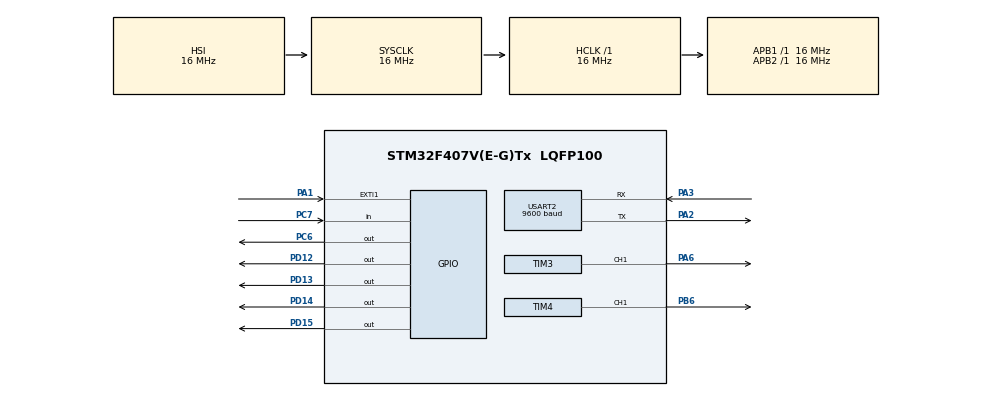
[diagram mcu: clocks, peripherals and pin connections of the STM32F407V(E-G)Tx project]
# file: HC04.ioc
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Mcu.Family=STM32F4
Mcu.Name=STM32F407V(E-G)Tx
Mcu.Package=LQFP100
NVIC.EXTI1_IRQn=true\:0\:0\:false\:false\:true
NVIC.PriorityGroup=NVIC_PRIORITYGROUP_4
NVIC.TIM2_IRQn=true\:0\:0\:false\:false\:true
NVIC.TIM3_IRQn=true\:0\:0\:false\:false\:true
NVIC.TIM4_IRQn=true\:0\:0\:false\:false\:true
PA1.GPIO_ModeDefaultEXTI=GPIO_MODE_IT_RISING_FALLING
PA1.Signal=GPXTI1
PA2.Mode=Asynchronous
PA2.Signal=USART2_TX
PA3.Mode=Asynchronous
PA3.Signal=USART2_RX
PA6.Signal=S_TIM3_CH1
PB6.Signal=S_TIM4_CH1
PC6.Signal=GPIO_Output
PC7.Signal=GPIO_Input
PD12.Signal=GPIO_Output
PD13.Signal=GPIO_Output
PD14.Signal=GPIO_Output
PD15.Signal=GPIO_Output
ProjectManager.HeapSize=0x200
ProjectManager.StackSize=0x400
ProjectManager.TargetToolchain=MDK-ARM V5
RCC.AHBFreq_Value=16000000
RCC.APB1Freq_Value=16000000
RCC.APB2Freq_Value=16000000
RCC.CortexFreq_Value=16000000
RCC.HSE_VALUE=25000000
RCC.HSI_VALUE=16000000
RCC.LSE_VALUE=32768
RCC.SYSCLKFreq_VALUE=16000000
RCC.VCOOutputFreq_Value=192000000
SH.S_TIM3_CH1.0=TIM3_CH1,PWM Generation1 CH1
SH.S_TIM4_CH1.0=TIM4_CH1,PWM Generation1 CH1
TIM3.Channel-PWM\ Generation1\ CH1=TIM_CHANNEL_1
TIM3.Period=799
TIM3.Prescaler=10
TIM4.Channel-PWM\ Generation1\ CH1=TIM_CHANNEL_1
TIM4.Period=799
TIM4.Prescaler=10
USART2.BaudRate=9600
USART2.VirtualMode=VM_ASYNC
VP_TIM2_VS_ClockSourceINT.Mode=Internal
VP_TIM3_VS_ClockSourceINT.Mode=Internal
VP_TIM4_VS_ClockSourceINT.Mode=Internal
board=HC04

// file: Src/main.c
/**
  ******************************************************************************
  * File Name          : main.c
  * Description        : Main program body
  ******************************************************************************
  *
  * COPYRIGHT(c) 2017 STMicroelectronics
  *
  * Redistribution and use in source and binary forms, with or without modification,
  * are permitted provided that the following conditions are met:
  *   1. Redistributions of source code must retain the above copyright notice,
  *      this list of conditions and the following disclaimer.
  *   2. Redistributions in binary form must reproduce the above copyright notice,
  *      this list of conditions and the following disclaimer in the documentation
  *      and/or other materials provided with the distribution.
  *   3. Neither the name of STMicroelectronics nor the names of its contributors
  *      may be used to endorse or promote products derived from this software
  *      without specific prior written permission.
  *
  * THIS SOFTWARE IS PROVIDED BY THE COPYRIGHT HOLDERS AND CONTRIBUTORS "AS IS"
  * AND ANY EXPRESS OR IMPLIED WARRANTIES, INCLUDING, BUT NOT LIMITED TO, THE
  * IMPLIED WARRANTIES OF MERCHANTABILITY AND FITNESS FOR A PARTICULAR PURPOSE ARE
  * DISCLAIMED. IN NO EVENT SHALL THE COPYRIGHT HOLDER OR CONTRIBUTORS BE LIABLE
  * FOR ANY DIRECT, INDIRECT, INCIDENTAL, SPECIAL, EXEMPLARY, OR CONSEQUENTIAL
  * DAMAGES (INCLUDING, BUT NOT LIMITED TO, PROCUREMENT OF SUBSTITUTE GOODS OR
  * SERVICES; LOSS OF USE, DATA, OR PROFITS; OR BUSINESS INTERRUPTION) HOWEVER
  * CAUSED AND ON ANY THEORY OF LIABILITY, WHETHER IN CONTRACT, STRICT LIABILITY,
  * OR TORT (INCLUDING NEGLIGENCE OR OTHERWISE) ARISING IN ANY WAY OUT OF THE USE
  * OF THIS SOFTWARE, EVEN IF ADVISED OF THE POSSIBILITY OF SUCH DAMAGE.
  *
  ******************************************************************************
  */
#include "main.h"
#include "stm32f4xx_hal.h"
#include "hcsr04.h"
#include "motor.h"

TIM_HandleTypeDef htim2;
TIM_HandleTypeDef htim3;
TIM_HandleTypeDef htim4;

UART_HandleTypeDef huart2;

/* USER CODE BEGIN PV */
/* Private variables ---------------------------------------------------------*/
uint8_t buff_recive[2];
HCSRO4t hc;
Motort mt;
extern TIM_OC_InitTypeDef sConfigOC_TIM3;  // sConfigOC structure used in the MX_TIM3_Init function;
extern TIM_OC_InitTypeDef sConfigOC_TIM4;  // sConfigOC structure used in the MX_TIM3_Init function;
/* USER CODE END PV */

void SystemClock_Config(void);
void Error_Handler(void);
static void MX_GPIO_Init(void);
static void MX_USART2_UART_Init(void);
static void MX_TIM2_Init(void);
static void MX_TIM3_Init(void);
static void MX_TIM4_Init(void);

void HAL_TIM_MspPostInit(TIM_HandleTypeDef *htim);

/* USER CODE BEGIN PFP */
/* Private function prototypes -----------------------------------------------*/

/* USER CODE END PFP */

/* USER CODE BEGIN 0 */
//INIT HCSR04 Structure
void HCRSR04_init(GPIO_TypeDef* ECHOPORT,uint16_t ECHOPIN,GPIO_TypeDef* TRIGGERPORT,uint16_t TRIGGERPIN){
	hc.ECHO_GPIOx=ECHOPORT;
	hc.ECHO_GPIO_Pin=ECHOPIN;
	hc.TRIGGER_GPIOx=TRIGGERPORT;
	hc.TRIGGER_GPIO_Pin=TRIGGERPIN;
}
//INIT MOTOR INPUT
void Motor_init(GPIO_TypeDef* F1PORT,uint16_t F1PIN,GPIO_TypeDef* B1PORT,uint16_t B1PIN,GPIO_TypeDef* F2PORT,uint16_t F2PIN,GPIO_TypeDef* B2PORT,uint16_t B2PIN){
	mt.FORWARD1_GPIOx=F1PORT;
	mt.FORWARD1_GPIO_Pin=F1PIN;
	mt.BACK1_GPIOx=B1PORT;
	mt.BACK1_GPIO_Pin=B1PIN;

	mt.FORWARD2_GPIOx=F2PORT;
	mt.FORWARD2_GPIO_Pin=F2PIN;
	mt.BACK2_GPIOx=B2PORT;
	mt.BACK2_GPIO_Pin=B2PIN;
}
//Function Ultrasonic read
float SR04read(HCSRO4t* hc) {
  __HAL_TIM_SetCounter(&htim2, 0);
  HAL_GPIO_WritePin(hc->TRIGGER_GPIOx,hc->TRIGGER_GPIO_Pin,1);
  while(__HAL_TIM_GetCounter(&htim2) < 15);
  HAL_GPIO_WritePin(hc->TRIGGER_GPIOx, hc->TRIGGER_GPIO_Pin,0);
  while(!HAL_GPIO_ReadPin(hc->ECHO_GPIOx,hc->ECHO_GPIO_Pin) && (__HAL_TIM_GetCounter(&htim2) < 50000));
  __HAL_TIM_SetCounter(&htim2, 0);
  while(HAL_GPIO_ReadPin(hc->ECHO_GPIOx,hc->ECHO_GPIO_Pin)&& (__HAL_TIM_GetCounter(&htim2) < 50000));
  return ((float)__HAL_TIM_GetCounter(&htim2) * 0.01715 + SR04_OFFSET);
}
//Function start PWM
void WritePulse(TIM_HandleTypeDef* htimer, TIM_OC_InitTypeDef sConfig, int pulse, uint32_t channel) {
  sConfig.Pulse = pulse; // Set the new PWM pulse;
  HAL_TIM_PWM_ConfigChannel(htimer, &sConfig, channel);  // Reconfiguration of the htimer structure;
  HAL_TIM_PWM_Start(htimer, channel);  // Start the htimer TIMER ;
}
//Forward
void Forward(Motort *m){
		HAL_GPIO_WritePin(m->FORWARD1_GPIOx,m->FORWARD1_GPIO_Pin,1);
		HAL_GPIO_WritePin(m->FORWARD2_GPIOx,m->FORWARD2_GPIO_Pin,1);
		HAL_GPIO_WritePin(m->BACK1_GPIOx,m->BACK2_GPIO_Pin,0);
		HAL_GPIO_WritePin(m->BACK2_GPIOx,m->BACK2_GPIO_Pin,0);
}
// Back
void Back(Motort *m){
		HAL_GPIO_WritePin(m->FORWARD1_GPIOx,m->FORWARD1_GPIO_Pin,0);
		HAL_GPIO_WritePin(m->FORWARD2_GPIOx,m->FORWARD2_GPIO_Pin,0);
		HAL_GPIO_WritePin(m->BACK1_GPIOx,m->BACK1_GPIO_Pin,1);
		HAL_GPIO_WritePin(m->BACK2_GPIOx,m->BACK2_GPIO_Pin,1);
}
//Stop
void Stop(Motort *m){
		HAL_GPIO_WritePin(m->FORWARD1_GPIOx,m->FORWARD1_GPIO_Pin,0);
		HAL_GPIO_WritePin(m->FORWARD2_GPIOx,m->FORWARD2_GPIO_Pin,0);
		HAL_GPIO_WritePin(m->BACK1_GPIOx,m->BACK1_GPIO_Pin,0);
		HAL_GPIO_WritePin(m->BACK2_GPIOx,m->BACK2_GPIO_Pin,0);
}
//Right
void Right(Motort *m){
		HAL_GPIO_WritePin(m->FORWARD1_GPIOx,m->FORWARD1_GPIO_Pin,1);
		HAL_GPIO_WritePin(m->FORWARD2_GPIOx,m->FORWARD2_GPIO_Pin,0);
		HAL_GPIO_WritePin(m->BACK1_GPIOx,m->BACK1_GPIO_Pin,0);
		HAL_GPIO_WritePin(m->BACK2_GPIOx,m->BACK2_GPIO_Pin,0);
}
//Left
void Left(Motort *m){
		HAL_GPIO_WritePin(m->FORWARD1_GPIOx,m->FORWARD1_GPIO_Pin,0);
		HAL_GPIO_WritePin(m->FORWARD2_GPIOx,m->FORWARD2_GPIO_Pin,1);
		HAL_GPIO_WritePin(m->BACK1_GPIOx,m->BACK1_GPIO_Pin,0);
		HAL_GPIO_WritePin(m->BACK2_GPIOx,m->BACK2_GPIO_Pin,0);
}
//Rotation
void Rotation(Motort *m){
		HAL_GPIO_WritePin(m->FORWARD1_GPIOx,m->FORWARD1_GPIO_Pin,1);
		HAL_GPIO_WritePin(m->FORWARD2_GPIOx,m->FORWARD2_GPIO_Pin,0);
		HAL_GPIO_WritePin(m->BACK1_GPIOx,m->BACK1_GPIO_Pin,1);
		HAL_GPIO_WritePin(m->BACK2_GPIOx,m->BACK2_GPIO_Pin,0);
}

/* USER CODE END 0 */
int main(void)
{

  /* MCU Configuration----------------------------------------------------------*/

  /* Reset of all peripherals, Initializes the Flash interface and the Systick. */
  HAL_Init();

  /* Configure the system clock */
  SystemClock_Config();

  /* Initialize all configured peripherals */
  MX_GPIO_Init();
  MX_USART2_UART_Init();
  MX_TIM2_Init();
  MX_TIM3_Init();
  MX_TIM4_Init();

  /* USER CODE BEGIN 2 */

	float distance=0;
	char a;
	HCRSR04_init(GPIOC,GPIO_PIN_7,GPIOC,GPIO_PIN_6);
	Motor_init(GPIOD,GPIO_PIN_12,GPIOD,GPIO_PIN_13,GPIOD,GPIO_PIN_14,GPIOD,GPIO_PIN_15);
	HAL_TIM_PWM_Start(&htim3,TIM_CHANNEL_1);
	HAL_TIM_PWM_Start(&htim4,TIM_CHANNEL_1);
	//WritePulse(&htim3,sConfigOC_TIM3,500,TIM_CHANNEL_1);
  //WritePulse(&htim4,sConfigOC_TIM4,500,TIM_CHANNEL_1);
	/* USER CODE END 2 */
	HAL_TIM_Base_Start(&htim2);
  /* Infinite loop */
  while (1)
  {
		distance=SR04read(&hc);
		if (distance>5 && distance<10){
				buff_recive[0]='s';
		}
		HAL_UART_Receive(&huart2,buff_recive,2,1);
		if(buff_recive[0]=='1'){
				Forward(&mt);
		}
		else if (buff_recive[0]=='2'){
				Back(&mt);
		}
		else if(buff_recive[0]=='s'){
				Stop(&mt);
		}
		else if(buff_recive[0]=='3'){
				Right(&mt);
		}
		else if(buff_recive[0]=='4'){
				Left(&mt);
		}
		else if(buff_recive[0]=='5'){
				Rotation(&mt);
		}

		HAL_Delay(500);
	}

}

/** System Clock Configuration
*/
void SystemClock_Config(void)
{

  RCC_OscInitTypeDef RCC_OscInitStruct;
  RCC_ClkInitTypeDef RCC_ClkInitStruct;

    /**Configure the main internal regulator output voltage
    */
  __HAL_RCC_PWR_CLK_ENABLE();

  __HAL_PWR_VOLTAGESCALING_CONFIG(PWR_REGULATOR_VOLTAGE_SCALE1);

    /**Initializes the CPU, AHB and APB busses clocks
    */
  RCC_OscInitStruct.OscillatorType = RCC_OSCILLATORTYPE_HSI;
  RCC_OscInitStruct.HSIState = RCC_HSI_ON;
  RCC_OscInitStruct.HSICalibrationValue = 16;
  RCC_OscInitStruct.PLL.PLLState = RCC_PLL_NONE;
  if (HAL_RCC_OscConfig(&RCC_OscInitStruct) != HAL_OK)
  {
    Error_Handler();
  }

    /**Initializes the CPU, AHB and APB busses clocks
    */
  RCC_ClkInitStruct.ClockType = RCC_CLOCKTYPE_HCLK|RCC_CLOCKTYPE_SYSCLK
                              |RCC_CLOCKTYPE_PCLK1|RCC_CLOCKTYPE_PCLK2;
  RCC_ClkInitStruct.SYSCLKSource = RCC_SYSCLKSOURCE_HSI;
  RCC_ClkInitStruct.AHBCLKDivider = RCC_SYSCLK_DIV1;
  RCC_ClkInitStruct.APB1CLKDivider = RCC_HCLK_DIV1;
  RCC_ClkInitStruct.APB2CLKDivider = RCC_HCLK_DIV1;

  if (HAL_RCC_ClockConfig(&RCC_ClkInitStruct, FLASH_LATENCY_0) != HAL_OK)
  {
    Error_Handler();
  }

    /**Configure the Systick interrupt time
    */
  HAL_SYSTICK_Config(HAL_RCC_GetHCLKFreq()/1000);

    /**Configure the Systick
    */
  HAL_SYSTICK_CLKSourceConfig(SYSTICK_CLKSOURCE_HCLK);

  /* SysTick_IRQn interrupt configuration */
  HAL_NVIC_SetPriority(SysTick_IRQn, 0, 0);
}

/* TIM2 init function */
static void MX_TIM2_Init(void)
{

  TIM_ClockConfigTypeDef sClockSourceConfig;
  TIM_MasterConfigTypeDef sMasterConfig;

  htim2.Instance = TIM2;
  htim2.Init.Prescaler = (uint16_t) (SystemCoreClock / 1000000) - 1;;
  htim2.Init.CounterMode = TIM_COUNTERMODE_UP;
  htim2.Init.Period = 65535 - 1;
  htim2.Init.ClockDivision = TIM_CLOCKDIVISION_DIV1;
  if (HAL_TIM_Base_Init(&htim2) != HAL_OK)
  {
    Error_Handler();
  }

  sClockSourceConfig.ClockSource = TIM_CLOCKSOURCE_INTERNAL;
  if (HAL_TIM_ConfigClockSource(&htim2, &sClockSourceConfig) != HAL_OK)
  {
    Error_Handler();
  }

  sMasterConfig.MasterOutputTrigger = TIM_TRGO_RESET;
  sMasterConfig.MasterSlaveMode = TIM_MASTERSLAVEMODE_DISABLE;
  if (HAL_TIMEx_MasterConfigSynchronization(&htim2, &sMasterConfig) != HAL_OK)
  {
    Error_Handler();
  }

}
TIM_OC_InitTypeDef sConfigOC_TIM3;
/* TIM3 init function */
static void MX_TIM3_Init(void)
{

  TIM_ClockConfigTypeDef sClockSourceConfig;
  TIM_MasterConfigTypeDef sMasterConfig;
  TIM_OC_InitTypeDef sConfigOC;

  htim3.Instance = TIM3;
  htim3.Init.Prescaler = 10;
  htim3.Init.CounterMode = TIM_COUNTERMODE_UP;
  htim3.Init.Period = 799;
  htim3.Init.ClockDivision = TIM_CLOCKDIVISION_DIV1;
  if (HAL_TIM_Base_Init(&htim3) != HAL_OK)
  {
    Error_Handler();
  }

  sClockSourceConfig.ClockSource = TIM_CLOCKSOURCE_INTERNAL;
  if (HAL_TIM_ConfigClockSource(&htim3, &sClockSourceConfig) != HAL_OK)
  {
    Error_Handler();
  }

  if (HAL_TIM_PWM_Init(&htim3) != HAL_OK)
  {
    Error_Handler();
  }

  sMasterConfig.MasterOutputTrigger = TIM_TRGO_RESET;
  sMasterConfig.MasterSlaveMode = TIM_MASTERSLAVEMODE_DISABLE;
  if (HAL_TIMEx_MasterConfigSynchronization(&htim3, &sMasterConfig) != HAL_OK)
  {
    Error_Handler();
  }

  sConfigOC.OCMode = TIM_OCMODE_PWM1;
  sConfigOC.Pulse = 700;
  sConfigOC.OCPolarity = TIM_OCPOLARITY_HIGH;
  sConfigOC.OCFastMode = TIM_OCFAST_DISABLE;
  if (HAL_TIM_PWM_ConfigChannel(&htim3, &sConfigOC, TIM_CHANNEL_1) != HAL_OK)
  {
    Error_Handler();
  }

  HAL_TIM_MspPostInit(&htim3);

}
TIM_OC_InitTypeDef sConfigOC_TIM4;
/* TIM4 init function */
static void MX_TIM4_Init(void)
{

  TIM_ClockConfigTypeDef sClockSourceConfig;
  TIM_MasterConfigTypeDef sMasterConfig;
  TIM_OC_InitTypeDef sConfigOC;

  htim4.Instance = TIM4;
  htim4.Init.Prescaler = 10;
  htim4.Init.CounterMode = TIM_COUNTERMODE_UP;
  htim4.Init.Period = 799;
  htim4.Init.ClockDivision = TIM_CLOCKDIVISION_DIV1;
  if (HAL_TIM_Base_Init(&htim4) != HAL_OK)
  {
    Error_Handler();
  }

  sClockSourceConfig.ClockSource = TIM_CLOCKSOURCE_INTERNAL;
  if (HAL_TIM_ConfigClockSource(&htim4, &sClockSourceConfig) != HAL_OK)
  {
    Error_Handler();
  }

  if (HAL_TIM_PWM_Init(&htim4) != HAL_OK)
  {
    Error_Handler();
  }

  sMasterConfig.MasterOutputTrigger = TIM_TRGO_RESET;
  sMasterConfig.MasterSlaveMode = TIM_MASTERSLAVEMODE_DISABLE;
  if (HAL_TIMEx_MasterConfigSynchronization(&htim4, &sMasterConfig) != HAL_OK)
  {
    Error_Handler();
  }

  sConfigOC.OCMode = TIM_OCMODE_PWM1;
  sConfigOC.Pulse = 700;
  sConfigOC.OCPolarity = TIM_OCPOLARITY_HIGH;
  sConfigOC.OCFastMode = TIM_OCFAST_DISABLE;
  if (HAL_TIM_PWM_ConfigChannel(&htim4, &sConfigOC, TIM_CHANNEL_1) != HAL_OK)
  {
    Error_Handler();
  }

  HAL_TIM_MspPostInit(&htim4);

}

/* USART2 init function */
static void MX_USART2_UART_Init(void)
{

  huart2.Instance = USART2;
  huart2.Init.BaudRate = 9600;
  huart2.Init.WordLength = UART_WORDLENGTH_8B;
  huart2.Init.StopBits = UART_STOPBITS_1;
  huart2.Init.Parity = UART_PARITY_NONE;
  huart2.Init.Mode = UART_MODE_TX_RX;
  huart2.Init.HwFlowCtl = UART_HWCONTROL_NONE;
  huart2.Init.OverSampling = UART_OVERSAMPLING_16;
  if (HAL_UART_Init(&huart2) != HAL_OK)
  {
    Error_Handler();
  }

}

/** Configure pins as
        * Analog
        * Input
        * Output
        * EVENT_OUT
        * EXTI
*/
static void MX_GPIO_Init(void)
{

  GPIO_InitTypeDef GPIO_InitStruct;

  /* GPIO Ports Clock Enable */
  __HAL_RCC_GPIOA_CLK_ENABLE();
  __HAL_RCC_GPIOD_CLK_ENABLE();
  __HAL_RCC_GPIOC_CLK_ENABLE();
  __HAL_RCC_GPIOB_CLK_ENABLE();

  /*Configure GPIO pin Output Level */
  HAL_GPIO_WritePin(GPIOD, GPIO_PIN_12|GPIO_PIN_13|GPIO_PIN_14|GPIO_PIN_15, GPIO_PIN_RESET);

  /*Configure GPIO pin Output Level */
  HAL_GPIO_WritePin(GPIOC, GPIO_PIN_6, GPIO_PIN_RESET);

  /*Configure GPIO pin : PA1 */
  GPIO_InitStruct.Pin = GPIO_PIN_1;
  GPIO_InitStruct.Mode = GPIO_MODE_IT_RISING_FALLING;
  GPIO_InitStruct.Pull = GPIO_NOPULL;
  HAL_GPIO_Init(GPIOA, &GPIO_InitStruct);

  /*Configure GPIO pins : PD12 PD13 PD14 PD15 */
  GPIO_InitStruct.Pin = GPIO_PIN_12|GPIO_PIN_13|GPIO_PIN_14|GPIO_PIN_15;
  GPIO_InitStruct.Mode = GPIO_MODE_OUTPUT_PP;
  GPIO_InitStruct.Pull = GPIO_NOPULL;
  GPIO_InitStruct.Speed = GPIO_SPEED_FREQ_LOW;
  HAL_GPIO_Init(GPIOD, &GPIO_InitStruct);

  /*Configure GPIO pin : PC6 */
  GPIO_InitStruct.Pin = GPIO_PIN_6;
  GPIO_InitStruct.Mode = GPIO_MODE_OUTPUT_PP;
  GPIO_InitStruct.Pull = GPIO_NOPULL;
  GPIO_InitStruct.Speed = GPIO_SPEED_FREQ_LOW;
  HAL_GPIO_Init(GPIOC, &GPIO_InitStruct);

  /*Configure GPIO pin : PC7 */
  GPIO_InitStruct.Pin = GPIO_PIN_7;
  GPIO_InitStruct.Mode = GPIO_MODE_INPUT;
  GPIO_InitStruct.Pull = GPIO_NOPULL;
  HAL_GPIO_Init(GPIOC, &GPIO_InitStruct);

  /* EXTI interrupt init*/
  HAL_NVIC_SetPriority(EXTI1_IRQn, 0, 0);
  HAL_NVIC_EnableIRQ(EXTI1_IRQn);

}

void Error_Handler(void)
{
  while(1)
  {
  }
}

/************************ (C) COPYRIGHT STMicroelectronics *****END OF FILE****/
